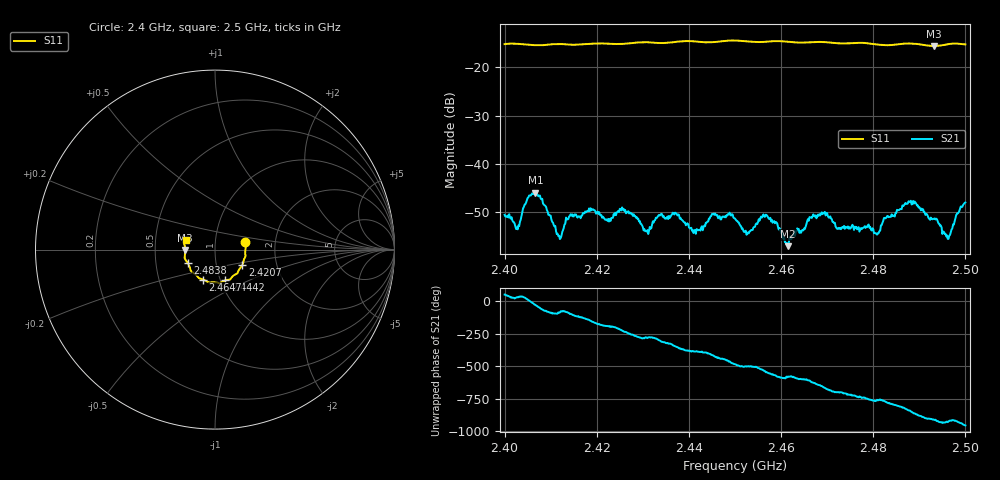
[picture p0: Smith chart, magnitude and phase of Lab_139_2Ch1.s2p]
# Hz S RI R 50
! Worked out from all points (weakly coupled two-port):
!   601 points, 2.4 GHz to 2.5 GHz, reference 50 ohm
!   highest |S21| = -45.92 dB at 2.4067 GHz (marker M1); lowest = -57.0 dB at 2.4615 GHz (marker M2)
!   lowest |S11| = -15.6 dB at 2.4932 GHz (marker M3), VSWR 1.40, Z = 35.8 - j0.121 ohm
!   |S11| at or under -10 dB: start of sweep to end of sweep
!   S12 and S22 are empty: the file has one direction only
!   S11 on the Smith chart (normalised r, x): 2.4 GHz: 1.40, +0.12; 2.4207 GHz: 1.33, -0.24; 2.4442 GHz: 1.05, -0.37; 2.4647 GHz: 0.83, -0.29; 2.4838 GHz: 0.73, -0.11; 2.5 GHz: 0.71, +0.08
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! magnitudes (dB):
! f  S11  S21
! 2.4 GHz  -15.2  -50.5
! 2.4028 GHz  -15.2  -53.5
! 2.4067 GHz  -15.4  -45.9
! 2.4118 GHz  -15.2  -54.8
! 2.4167 GHz  -15.3  -50.8
! 2.4207 GHz  -15.1  -50.4
! 2.4308 GHz  -14.8  -54.0
! 2.4333 GHz  -15.0  -50.7
! 2.4442 GHz  -14.9  -51.9
! 2.45 GHz  -14.5  -51.3
! 2.4525 GHz  -14.6  -54.6
! 2.4567 GHz  -14.7  -50.5
! 2.4615 GHz  -14.7  -57.0
! 2.4647 GHz  -14.9  -53.6
! 2.4667 GHz  -14.8  -51.2
! 2.4807 GHz  -15.3  -54.4
! 2.4833 GHz  -15.5  -51.0
! 2.4838 GHz  -15.4  -50.9
! 2.4882 GHz  -15.1  -47.6
! 2.4932 GHz  -15.6  -51.4
! 2.4963 GHz  -15.2  -55.5
! 2.5 GHz  -15.3  -48.0
